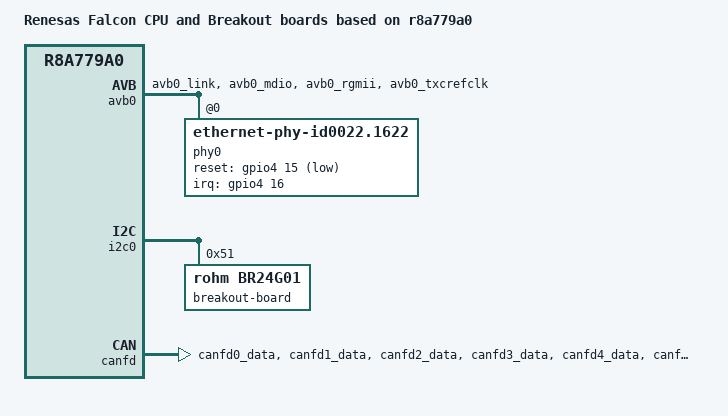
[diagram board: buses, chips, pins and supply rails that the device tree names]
// SPDX-License-Identifier: GPL-2.0
/*
 * Device Tree Source for the Falcon CPU and BreakOut boards with R-Car V3U
 *
 * Copyright (C) 2020 Renesas Electronics Corp.
 */

/dts-v1/;
#include "r8a779a0-falcon-cpu.dtsi"
#include "r8a779a0-falcon-csi-dsi.dtsi"
#include "r8a779a0-falcon-ethernet.dtsi"

/ {
	model = "Renesas Falcon CPU and Breakout boards based on r8a779a0";
	compatible = "renesas,falcon-breakout", "renesas,falcon-cpu", "renesas,r8a779a0";

	aliases {
		ethernet0 = &avb0;
	};
};

&avb0 {
	pinctrl-0 = <&avb0_pins>;
	pinctrl-names = "default";
	phy-handle = <&phy0>;
	tx-internal-delay-ps = <2000>;
	status = "okay";

	phy0: ethernet-phy@0 {
		compatible = "ethernet-phy-id0022.1622",
			     "ethernet-phy-ieee802.3-c22";
		rxc-skew-ps = <1500>;
		reg = <0>;
		interrupt-parent = <&gpio4>;
		interrupts = <16 IRQ_TYPE_LEVEL_LOW>;
		reset-gpios = <&gpio4 15 GPIO_ACTIVE_LOW>;
	};
};

&i2c0 {
	eeprom@51 {
		compatible = "rohm,br24g01", "atmel,24c01";
		label = "breakout-board";
		reg = <0x51>;
		pagesize = <8>;
	};
};

&pfc {
	avb0_pins: avb0 {
		mux {
			groups = "avb0_link", "avb0_mdio", "avb0_rgmii",
				 "avb0_txcrefclk";
			function = "avb0";
		};

		pins_mdio {
			groups = "avb0_mdio";
			drive-strength = <21>;
		};

		pins_mii {
			groups = "avb0_rgmii";
			drive-strength = <21>;
		};

	};

	canfd0_pins: canfd0 {
		groups = "canfd0_data";
		function = "canfd0";
	};

	canfd1_pins: canfd1 {
		groups = "canfd1_data";
		function = "canfd1";
	};

	canfd2_pins: canfd2 {
		groups = "canfd2_data";
		function = "canfd2";
	};

	canfd3_pins: canfd3 {
		groups = "canfd3_data";
		function = "canfd3";
	};

	canfd4_pins: canfd4 {
		groups = "canfd4_data";
		function = "canfd4";
	};

	canfd5_pins: canfd5 {
		groups = "canfd5_data";
		function = "canfd5";
	};

	canfd6_pins: canfd6 {
		groups = "canfd6_data";
		function = "canfd6";
	};

	canfd7_pins: canfd7 {
		groups = "canfd7_data";
		function = "canfd7";
	};
};

&canfd {
	pinctrl-0 = <&canfd0_pins>, <&canfd1_pins>, <&canfd2_pins>,
		    <&canfd3_pins>, <&canfd4_pins>, <&canfd5_pins>,
		    <&canfd6_pins>, <&canfd7_pins>;
	pinctrl-names = "default";
	status = "okay";

	channel0 {
		status = "okay";
	};

	channel1 {
		status = "okay";
	};

	channel2 {
		status = "okay";
	};

	channel3 {
		status = "okay";
	};

	channel4 {
		status = "okay";
	};

	channel5 {
		status = "okay";
	};

	channel6 {
		status = "okay";
	};

	channel7 {
		status = "okay";
	};
};
